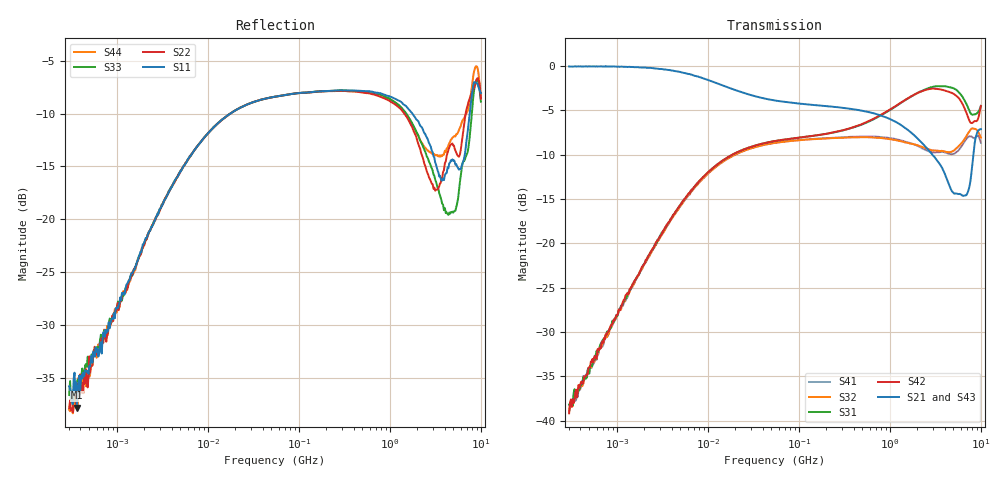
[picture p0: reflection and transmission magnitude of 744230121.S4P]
! This data is being provided by Wuerth Elektronik eiSos GmbH & Co. KG to the industry for analysis.
! Document information:
! Version:rev19a Date: 16/12/2019
! Component information:
! Match Code: WE-CNSW P/N: 744230121 Size: 0603
! Disclaimer:  While Würth Elektronik eiSos has made every reasonable effort to ensure the accuracy
! of the information provided, Würth Elektronik eiSos does not guarantee the exemption of error on the
! data collection measurements, nor does Würth Elektronik eiSos guarantee that the information is current.
! Würth Elektronik eiSos reserves the right to make any adjustments at any time without notice.
! Würth Elektronik eiSos expressly disclaims all implied warranties regarding this measurement data collection.
! Note 1  This data measurement is representative according to the product implementation into the fixture.
! Component behavior is sensitive to implementation into the fixture, which includes board
! materials, trace geometry information, connector pin out, layer connection, use of de-embedding
! techniques, etc.
! Note 2 - The fixture was designed specifically to match the 50 Ohm line impedance, as well as the connector impedance,
! in order to accomplish a reliable measurement without reflections in the trace. Any other implementation of the fixture will change the obtained
! measurement performance. The used fixture behavior was de-embedded to accomplish reliable measurement results.
! The test setup consisted of the following:
!  - Agilent VNA E5071C or E5071B
!  - Calibrations are SOLT (short open load thru)
!  - De-embedding of the SMA's or line cards were included
!  - Equipment Settings -
!  - Sampling - 501 points
!  - IF BW  70 kHz
!  - Averaging  Not used
!  Port 1----->|1|  |2| -----> Port 3
!  |  DUT  |
!  Port 2----->|3|  |4| -----> Port 4
!*VNA Port --> |Port in Datasheet|
! |Port in Datasheet| --> VNA Port
! For further information regarding this testing, please contact
! Wuerth Elektronik eiSos
! Contact: EDA team in QDC
! Email: libraries@we-online.com or libraries@we-online.de
# Hz S dB R 50
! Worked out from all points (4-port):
!   501 points, 300 kHz to 10 GHz, reference 50 ohm
!   strongest paths, dB at 300 kHz, 4.054 MHz, 54.77 MHz, 740.1 MHz, 10 GHz:
!     S21: 0.0, -0.5, -3.9, -5.5, -7.1
!     S43: 0.0, -0.5, -3.9, -5.5, -7.2
!     S42: -39.2, -17.1, -8.5, -5.7, -4.5
!     S31: -38.2, -17.1, -8.5, -5.8, -4.5
!     S32: -39.0, -17.2, -8.7, -8.1, -8.1
!     S41: -39.0, -17.2, -8.7, -8.0, -8.7
!   lowest |S11| = -37.8 dB at 366 kHz (marker M1), VSWR 1.03, Z = 50.3 + j1.26 ohm
!   |S11| at or under -10 dB: start of sweep to 17.74 MHz; 1.769 GHz to 7.539 GHz (5.77 GHz wide, 124 % of centre)
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300000  -35.76 75.7  -0.07 -0.6  -37.51 96.9  -38.52 -85.1
        -0.05 -0.8  -37.84 68.8  -38.59 -93.6  -37.03 77.9
        -38.20 87.4  -38.96 -87.2  -36.57 86.6  -0.08 -0.6
        -39.01 -93.9  -39.19 91.6  -0.04 -0.6  -37.98 59.4
366013  -37.77 75.8  -0.01 -0.8  -36.72 83.9  -36.37 -90.2
        -0.05 -0.9  -36.27 81.2  -37.45 -90.8  -36.61 86.3
        -37.25 90.5  -37.21 -92.4  -35.33 81.6  -0.06 -0.8
        -36.70 -93.9  -37.40 84.8  -0.05 -0.8  -37.34 77.9
1.505649e7  -10.45 33.6  -2.25 -13.1  -10.55 35.3  -10.71 -146.0
            -2.24 -13.1  -10.45 33.4  -10.71 -146.1  -10.56 35.3
            -10.58 35.3  -10.73 -146.1  -10.43 33.2  -2.26 -13.1
            -10.72 -146.1  -10.57 35.3  -2.26 -13.1  -10.44 33.4
4.544362e8  -7.84 -6.7  -4.97 -20.5  -6.74 13.8  -7.96 164.7
            -4.98 -20.5  -7.96 -9.1  -8.03 162.1  -6.69 13.2
            -6.74 13.8  -8.03 162.1  -7.87 -9.5  -4.99 -20.3
            -7.96 164.7  -6.69 13.2  -4.99 -20.3  -7.87 -7.0
2.20586e9  -11.23 -35.9  -8.58 -70.4  -2.86 3.3  -9.23 100.6
           -8.58 -70.5  -13.73 -33.9  -9.09 93.6  -2.90 -1.4
           -2.86 3.3  -9.08 93.6  -12.72 -51.0  -8.50 -71.2
           -9.21 100.6  -2.89 -1.4  -8.49 -71.3  -12.69 -29.8
5.055437e9  -14.42 5.5  -14.51 -128.5  -2.54 -25.6  -9.98 38.2
            -14.37 -129.3  -13.02 23.4  -9.50 31.9  -3.14 -33.5
            -2.53 -25.8  -9.53 32.1  -19.23 27.7  -14.44 -130.6
            -9.90 37.9  -3.16 -33.6  -14.37 -130.5  -12.16 9.2
1e10  -8.08 -54.7  -7.14 86.7  -4.50 -33.9  -8.67 -87.9
      -7.13 85.7  -8.60 -45.5  -8.06 -81.4  -4.52 -41.8
      -4.50 -34.3  -8.07 -80.8  -8.87 -46.4  -7.19 87.3
      -8.67 -88.5  -4.51 -41.7  -7.17 87.1  -8.51 -51.7
